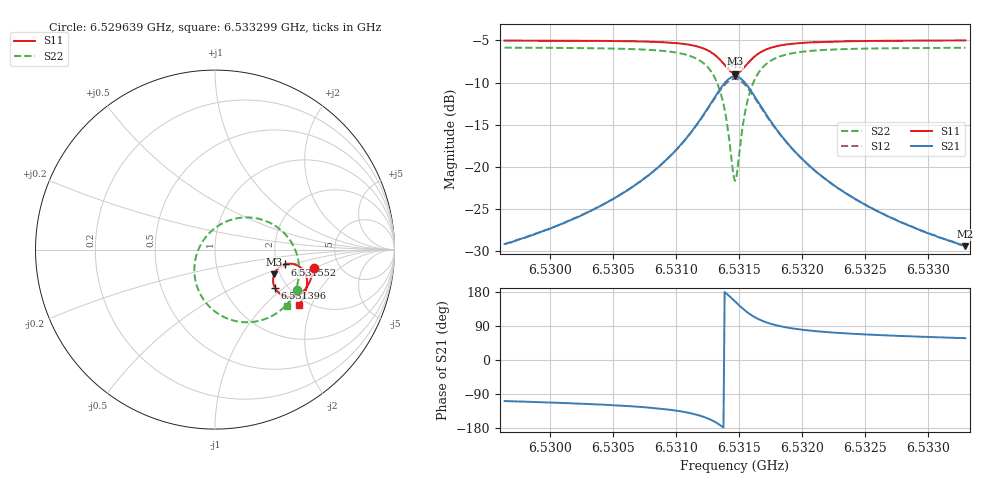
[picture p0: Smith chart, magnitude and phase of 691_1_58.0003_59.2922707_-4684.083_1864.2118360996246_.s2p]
#  HZ  S  RI  R  50.00
! Rohde & Schwarz Vector Network Analyzer
! Rohde-Schwarz,ZNB20-2Port,1311601062101988,3.16
! Created: UTC 3/21/2024, 1:21:15 AM
! freq[Hz]  re:S11  im:S11  re:S21  im:S21  re:S12  im:S12  re:S22  im:S22
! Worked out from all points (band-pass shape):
!   401 points, 6.529639 GHz to 6.533299 GHz, reference 50 ohm
!   highest |S21| = -9.27 dB at 6.531469 GHz (marker M1); lowest = -29.4 dB at 6.533299 GHz (marker M2)
!   |S21| within 3 dB of the highest: 6.531286 GHz to 6.531652 GHz (365.9 kHz wide, 0.0056 % of centre)
!   lowest |S11| = -8.9 dB at 6.531469 GHz (marker M3), VSWR 2.11, Z = 93 - j29.6 ohm
!   |S11| at or under -10 dB: nowhere
!   |S22| runs from -21.7 to -5.9 dB; largest |S21 - S12| = 0.015
!   S11 on the Smith chart (normalised r, x): 6.529639 GHz: 3.23, -0.97; 6.531396 GHz: 1.73, -0.86; 6.531552 GHz: 2.21, -0.43; 6.533299 GHz: 1.82, -1.64
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6.5296392e9  0.5508 -0.1031  -0.0111 -0.0331  -0.0118 -0.0329  0.4578 -0.2227
6.5302523e9  0.537 -0.1552  -0.0222 -0.0468  -0.0235 -0.0462  0.4209 -0.281
6.5305817e9  0.5241 -0.187  -0.0359 -0.0603  -0.0377 -0.0593  0.3849 -0.3209
6.5308653e9  0.5041 -0.2193  -0.0619 -0.0791  -0.0643 -0.0773  0.3264 -0.3645
6.5310758e9  0.4733 -0.2476  -0.1078 -0.0982  -0.1109 -0.0942  0.2349 -0.3991
6.5312405e9  0.4196 -0.264  -0.1913 -0.0995  -0.1932 -0.0911  0.0838 -0.3896
6.531332e9  0.3686 -0.2502  -0.2695 -0.0591  -0.2665 -0.0473  -0.0429 -0.3054
6.5313686e9  0.3467 -0.232  -0.301 -0.0213  -0.2946 -0.00951  -0.0881 -0.2356
6.531396e9  0.3333 -0.2116  -0.3191 0.0175  -0.3099 0.0283  -0.1101 -0.1675
6.5314509e9  0.3245 -0.1576  -0.3225 0.1145  -0.309 0.1197  -0.096 -0.00794
6.5314692e9  0.3294 -0.1386  -0.3108 0.1474  -0.2969 0.1501  -0.0704 0.0431
6.5314875e9  0.338 -0.121  -0.2927 0.1772  -0.2794 0.1777  -0.0354 0.0881
6.5315241e9  0.3641 -0.094  -0.2433 0.222  -0.2323 0.2189  0.0535 0.1522
6.5315516e9  0.3873 -0.0825  -0.2012 0.2405  -0.1927 0.236  0.1257 0.1752
6.5315882e9  0.4177 -0.0781  -0.1478 0.2475  -0.1423 0.2428  0.2152 0.1769
6.5316248e9  0.4435 -0.082  -0.1035 0.2407  -0.0998 0.2364  0.2883 0.1573
6.5317346e9  0.4897 -0.1132  -0.0255 0.1937  -0.0239 0.1916  0.4126 0.0598
6.5318719e9  0.509 -0.1511  0.00918 0.142  0.0104 0.1411  0.4604 -0.0427
6.5320823e9  0.5129 -0.1918  0.022 0.0957  0.0232 0.0953  0.4687 -0.1369
6.5323568e9  0.5066 -0.2274  0.0235 0.0652  0.0245 0.0648  0.4555 -0.2053
6.5326954e9  0.4947 -0.2603  0.0217 0.0455  0.0226 0.0453  0.4352 -0.2559
6.5332993e9  0.4701 -0.3073  0.0182 0.0286  0.0188 0.0283  0.3999 -0.3136
